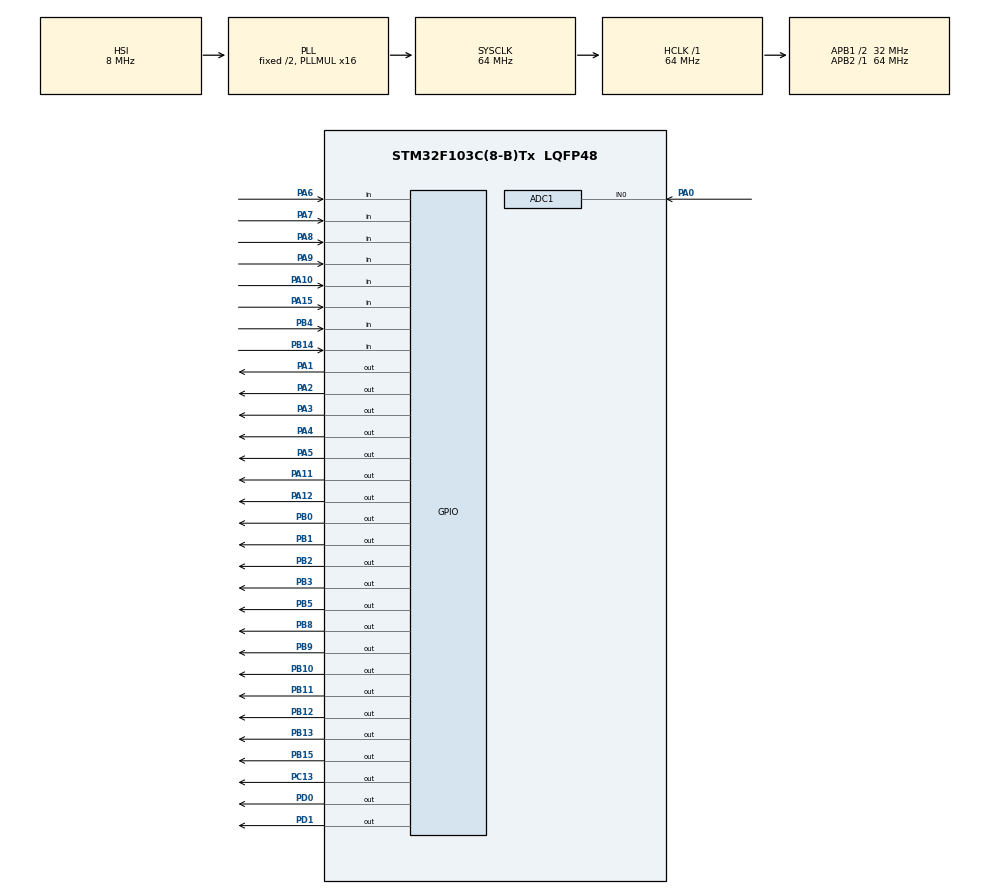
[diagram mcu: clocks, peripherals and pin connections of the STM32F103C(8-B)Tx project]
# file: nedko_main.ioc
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ADC1.Channel-0\#ChannelRegularConversion=ADC_CHANNEL_0
ADC1.ContinuousConvMode=ENABLE
ADC1.NbrOfConversionFlag=1
ADC1.Rank-0\#ChannelRegularConversion=1
ADC1.SamplingTime-0\#ChannelRegularConversion=ADC_SAMPLETIME_1CYCLE_5
ADC1.master=1
Mcu.Family=STM32F1
Mcu.Name=STM32F103C(8-B)Tx
Mcu.Package=LQFP48
NVIC.PriorityGroup=NVIC_PRIORITYGROUP_4
PA0-WKUP.Signal=ADCx_IN0
PA1.Signal=GPIO_Output
PA10.Signal=GPIO_Input
PA11.Signal=GPIO_Output
PA12.Signal=GPIO_Output
PA13.Mode=Serial_Wire
PA13.Signal=SYS_JTMS-SWDIO
PA14.Mode=Serial_Wire
PA14.Signal=SYS_JTCK-SWCLK
PA15.Signal=GPIO_Input
PA2.Signal=GPIO_Output
PA3.Signal=GPIO_Output
PA4.Signal=GPIO_Output
PA5.Signal=GPIO_Output
PA6.Signal=GPIO_Input
PA7.Signal=GPIO_Input
PA8.Signal=GPIO_Input
PA9.Signal=GPIO_Input
PB0.Signal=GPIO_Output
PB1.Signal=GPIO_Output
PB10.Signal=GPIO_Output
PB11.Signal=GPIO_Output
PB12.Signal=GPIO_Output
PB13.Signal=GPIO_Output
PB14.Signal=GPIO_Input
PB15.Signal=GPIO_Output
PB2.Signal=GPIO_Output
PB3.Signal=GPIO_Output
PB4.Signal=GPIO_Input
PB5.Signal=GPIO_Output
PB6.Signal=USART1_TX
PB7.Signal=USART1_RX
PB8.Signal=GPIO_Output
PB9.Signal=GPIO_Output
PC13-TAMPER-RTC.Signal=GPIO_Output
PC14-OSC32_IN.Mode=LSE-External-Oscillator
PC14-OSC32_IN.Signal=RCC_OSC32_IN
PC15-OSC32_OUT.Mode=LSE-External-Oscillator
PC15-OSC32_OUT.Signal=RCC_OSC32_OUT
PD0-OSC_IN.Signal=GPIO_Output
PD1-OSC_OUT.Signal=GPIO_Output
ProjectManager.HeapSize=0x200
ProjectManager.StackSize=0x400
ProjectManager.TargetToolchain=SW4STM32
RCC.ADCPresc=RCC_ADCPCLK2_DIV8
RCC.AHBFreq_Value=64000000
RCC.APB1CLKDivider=RCC_HCLK_DIV2
RCC.APB1Freq_Value=32000000
RCC.APB1TimFreq_Value=64000000
RCC.APB2Freq_Value=64000000
RCC.APB2TimFreq_Value=64000000
RCC.HCLKFreq_Value=64000000
RCC.PLLMUL=RCC_PLL_MUL16
RCC.RTCClockSelection=RCC_RTCCLKSOURCE_LSE
RCC.SYSCLKFreq_VALUE=64000000
RCC.SYSCLKSource=RCC_SYSCLKSOURCE_PLLCLK
RCC.USBFreq_Value=64000000
SH.ADCx_IN0.0=ADC1_IN0,IN0
VP_RTC_No_RTC_Output.Mode=RTC_OUT_NO
VP_RTC_VS_RTC_Activate.Mode=RTC_Enabled
VP_RTC_VS_RTC_Calendar.Mode=RTC_Calendar
board=nedko_main

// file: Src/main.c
/**
  ******************************************************************************
  * File Name          : main.c
  * Description        : Main program body
  ******************************************************************************
  ** This notice applies to any and all portions of this file
  * that are not between comment pairs USER CODE BEGIN and
  * USER CODE END. Other portions of this file, whether
  * inserted by the user or by software development tools
  * are owned by their respective copyright owners.
  *
  * COPYRIGHT(c) 2018 STMicroelectronics
  *
  * Redistribution and use in source and binary forms, with or without modification,
  * are permitted provided that the following conditions are met:
  *   1. Redistributions of source code must retain the above copyright notice,
  *      this list of conditions and the following disclaimer.
  *   2. Redistributions in binary form must reproduce the above copyright notice,
  *      this list of conditions and the following disclaimer in the documentation
  *      and/or other materials provided with the distribution.
  *   3. Neither the name of STMicroelectronics nor the names of its contributors
  *      may be used to endorse or promote products derived from this software
  *      without specific prior written permission.
  *
  * THIS SOFTWARE IS PROVIDED BY THE COPYRIGHT HOLDERS AND CONTRIBUTORS "AS IS"
  * AND ANY EXPRESS OR IMPLIED WARRANTIES, INCLUDING, BUT NOT LIMITED TO, THE
  * IMPLIED WARRANTIES OF MERCHANTABILITY AND FITNESS FOR A PARTICULAR PURPOSE ARE
  * DISCLAIMED. IN NO EVENT SHALL THE COPYRIGHT HOLDER OR CONTRIBUTORS BE LIABLE
  * FOR ANY DIRECT, INDIRECT, INCIDENTAL, SPECIAL, EXEMPLARY, OR CONSEQUENTIAL
  * DAMAGES (INCLUDING, BUT NOT LIMITED TO, PROCUREMENT OF SUBSTITUTE GOODS OR
  * SERVICES; LOSS OF USE, DATA, OR PROFITS; OR BUSINESS INTERRUPTION) HOWEVER
  * CAUSED AND ON ANY THEORY OF LIABILITY, WHETHER IN CONTRACT, STRICT LIABILITY,
  * OR TORT (INCLUDING NEGLIGENCE OR OTHERWISE) ARISING IN ANY WAY OUT OF THE USE
  * OF THIS SOFTWARE, EVEN IF ADVISED OF THE POSSIBILITY OF SUCH DAMAGE.
  *
  ******************************************************************************
  */

#include "main.h"
#include "stm32f1xx_hal.h"

/* USER CODE BEGIN Includes */
#include "string.h"
#include "LedControl.h"
#include "math.h"
#include "eeprom.h"
#include "MFRC522.h"
/* USER CODE END Includes */

ADC_HandleTypeDef hadc1;

RTC_HandleTypeDef hrtc;

/* USER CODE BEGIN PV */
/* Private variables ---------------------------------------------------------*/
extern LedControl led_control;
extern MFRC522_t mfrc522;
/* USER CODE END PV */

void SystemClock_Config(void);
static void MX_GPIO_Init(void);
static void MX_ADC1_Init(void);
static void MX_RTC_Init(void);

/* USER CODE BEGIN PFP */
/* Private function prototypes -----------------------------------------------*/

/* USER CODE END PFP */

int main(void)
{

  /* USER CODE BEGIN 1 */
	  signed char counter = 0;
  /* USER CODE END 1 */

  /* MCU Configuration----------------------------------------------------------*/

  /* Reset of all peripherals, Initializes the Flash interface and the Systick. */
  HAL_Init();

  /* Configure the system clock */
  SystemClock_Config();

  /* Initialize all configured peripherals */
  MX_GPIO_Init();
  MX_ADC1_Init();
  MX_RTC_Init();

  /* USER CODE BEGIN 2 */
  MFRC522_PCD_Init(11,  GPIOA, 2, GPIOB, 13, GPIOC, 15, GPIOA, 12,  GPIOA);
  LedControl_init(9, GPIOB, 11, GPIOB, 10, GPIOB, 11);
  for(int i = 0; i < led_control.maxDevices; i++)
  {
	  LedControl_shutdown(i, 0); //Turn ON
	  LedControl_setIntensity(i, 8);
	  LedControl_clearDisplay(i);
  }
  LedControl_setRow(2, 3, 0x0F);
  /* USER CODE END 2 */

  /* Infinite loop */
  while (1)
  {

  /* USER CODE BEGIN 3 */
//	  if(counter < sizeof(led_control.buffer))
//		  led_control.buffer[0] = 0xFF;
//		  led_control.buffer[8] = 0xFF;
//		  led_control.buffer[16] = 0x0F;

	  memset(led_control.buffer, 0, sizeof(led_control.buffer));
//	  LedControl_printCharWithShift(counter + 32,0);
	  if(MFRC522_PICC_IsNewCardPresent())
	  {
		  uint8_t val;
//		  uint8_t buffer[5];
//		  uint8_t buffer_size;
//		  buffer_size = sizeof(buffer);
//		  MFRC522_PICC_WakeupA(buffer, &buffer_size);
		  if(MFRC522_PICC_ReadCardSerial ())
		  {
			  LedControl_SetCursor(0, 0);
			  for(int i = 0; i < 8; i++)
			  {
				  val =  ((mfrc522.uid.uidByte[i/2]>>(4*(i&1))) & 0x0F);
				  if (val < 10)
				  {
					  LedControl_printChar('0' + val);
				  }
				  else
				  {
					  LedControl_printChar('A' + val - 10);
				  }
			  }
			  LedControl_reload();
		  }
	  }
	  else
	  {

	//	  LedControl_shiftLeft(0, 1);
		  LedControl_SetCursor(counter/8, (counter/2)%2);
		  LedControl_printBigString("K"); //ALOJAN E DOBAR");
	//	  LedControl_printBigChar('#');
	//	  LedControl_printBigChar(counter + 32);
	  }
//	  LedControl_reload();
	  HAL_Delay(100);
//		HAL_Delay(100);
//		LedControl_setRow((counter/8 ) % 8, counter % 8, 0x55);
		counter-=2;
//		counter %= 94;
  }
  /* USER CODE END 3 */

}

/** System Clock Configuration
*/
void SystemClock_Config(void)
{

  RCC_OscInitTypeDef RCC_OscInitStruct;
  RCC_ClkInitTypeDef RCC_ClkInitStruct;
  RCC_PeriphCLKInitTypeDef PeriphClkInit;

    /**Initializes the CPU, AHB and APB busses clocks
    */
  RCC_OscInitStruct.OscillatorType = RCC_OSCILLATORTYPE_HSI|RCC_OSCILLATORTYPE_LSE;
  RCC_OscInitStruct.LSEState = RCC_LSE_ON;
  RCC_OscInitStruct.HSIState = RCC_HSI_ON;
  RCC_OscInitStruct.HSICalibrationValue = 16;
  RCC_OscInitStruct.PLL.PLLState = RCC_PLL_ON;
  RCC_OscInitStruct.PLL.PLLSource = RCC_PLLSOURCE_HSI_DIV2;
  RCC_OscInitStruct.PLL.PLLMUL = RCC_PLL_MUL16;
  if (HAL_RCC_OscConfig(&RCC_OscInitStruct) != HAL_OK)
  {
    _Error_Handler(__FILE__, __LINE__);
  }

    /**Initializes the CPU, AHB and APB busses clocks
    */
  RCC_ClkInitStruct.ClockType = RCC_CLOCKTYPE_HCLK|RCC_CLOCKTYPE_SYSCLK
                              |RCC_CLOCKTYPE_PCLK1|RCC_CLOCKTYPE_PCLK2;
  RCC_ClkInitStruct.SYSCLKSource = RCC_SYSCLKSOURCE_PLLCLK;
  RCC_ClkInitStruct.AHBCLKDivider = RCC_SYSCLK_DIV1;
  RCC_ClkInitStruct.APB1CLKDivider = RCC_HCLK_DIV2;
  RCC_ClkInitStruct.APB2CLKDivider = RCC_HCLK_DIV1;

  if (HAL_RCC_ClockConfig(&RCC_ClkInitStruct, FLASH_LATENCY_2) != HAL_OK)
  {
    _Error_Handler(__FILE__, __LINE__);
  }

  PeriphClkInit.PeriphClockSelection = RCC_PERIPHCLK_RTC|RCC_PERIPHCLK_ADC;
  PeriphClkInit.RTCClockSelection = RCC_RTCCLKSOURCE_LSE;
  PeriphClkInit.AdcClockSelection = RCC_ADCPCLK2_DIV8;
  if (HAL_RCCEx_PeriphCLKConfig(&PeriphClkInit) != HAL_OK)
  {
    _Error_Handler(__FILE__, __LINE__);
  }

    /**Configure the Systick interrupt time
    */
  HAL_SYSTICK_Config(HAL_RCC_GetHCLKFreq()/1000);

    /**Configure the Systick
    */
  HAL_SYSTICK_CLKSourceConfig(SYSTICK_CLKSOURCE_HCLK);

  /* SysTick_IRQn interrupt configuration */
  HAL_NVIC_SetPriority(SysTick_IRQn, 0, 0);
}

/* ADC1 init function */
static void MX_ADC1_Init(void)
{

  ADC_ChannelConfTypeDef sConfig;

    /**Common config
    */
  hadc1.Instance = ADC1;
  hadc1.Init.ScanConvMode = ADC_SCAN_DISABLE;
  hadc1.Init.ContinuousConvMode = ENABLE;
  hadc1.Init.DiscontinuousConvMode = DISABLE;
  hadc1.Init.ExternalTrigConv = ADC_SOFTWARE_START;
  hadc1.Init.DataAlign = ADC_DATAALIGN_RIGHT;
  hadc1.Init.NbrOfConversion = 1;
  if (HAL_ADC_Init(&hadc1) != HAL_OK)
  {
    _Error_Handler(__FILE__, __LINE__);
  }

    /**Configure Regular Channel
    */
  sConfig.Channel = ADC_CHANNEL_0;
  sConfig.Rank = 1;
  sConfig.SamplingTime = ADC_SAMPLETIME_1CYCLE_5;
  if (HAL_ADC_ConfigChannel(&hadc1, &sConfig) != HAL_OK)
  {
    _Error_Handler(__FILE__, __LINE__);
  }

}

/* RTC init function */
static void MX_RTC_Init(void)
{

  RTC_TimeTypeDef sTime;
  RTC_DateTypeDef DateToUpdate;

    /**Initialize RTC Only
    */
  hrtc.Instance = RTC;
  hrtc.Init.AsynchPrediv = RTC_AUTO_1_SECOND;
  hrtc.Init.OutPut = RTC_OUTPUTSOURCE_NONE;
  if (HAL_RTC_Init(&hrtc) != HAL_OK)
  {
    _Error_Handler(__FILE__, __LINE__);
  }

    /**Initialize RTC and set the Time and Date
    */
  if(HAL_RTCEx_BKUPRead(&hrtc, RTC_BKP_DR1) != 0x32F2){
  sTime.Hours = 0x1;
  sTime.Minutes = 0x0;
  sTime.Seconds = 0x0;

  if (HAL_RTC_SetTime(&hrtc, &sTime, RTC_FORMAT_BCD) != HAL_OK)
  {
    _Error_Handler(__FILE__, __LINE__);
  }

  DateToUpdate.WeekDay = RTC_WEEKDAY_MONDAY;
  DateToUpdate.Month = RTC_MONTH_JANUARY;
  DateToUpdate.Date = 0x1;
  DateToUpdate.Year = 0x0;

  if (HAL_RTC_SetDate(&hrtc, &DateToUpdate, RTC_FORMAT_BCD) != HAL_OK)
  {
    _Error_Handler(__FILE__, __LINE__);
  }

    HAL_RTCEx_BKUPWrite(&hrtc,RTC_BKP_DR1,0x32F2);
  }

}

/** Configure pins as
        * Analog
        * Input
        * Output
        * EVENT_OUT
        * EXTI
     PB6   ------> USART1_TX
     PB7   ------> USART1_RX
*/
static void MX_GPIO_Init(void)
{

  GPIO_InitTypeDef GPIO_InitStruct;

  /* GPIO Ports Clock Enable */
  __HAL_RCC_GPIOC_CLK_ENABLE();
  __HAL_RCC_GPIOD_CLK_ENABLE();
  __HAL_RCC_GPIOA_CLK_ENABLE();
  __HAL_RCC_GPIOB_CLK_ENABLE();

  /*Configure GPIO pin Output Level */
  HAL_GPIO_WritePin(GPIOC, GPIO_PIN_13, GPIO_PIN_RESET);

  /*Configure GPIO pin Output Level */
  HAL_GPIO_WritePin(GPIOD, GPIO_PIN_0|GPIO_PIN_1, GPIO_PIN_RESET);

  /*Configure GPIO pin Output Level */
  HAL_GPIO_WritePin(GPIOA, GPIO_PIN_1|GPIO_PIN_2|GPIO_PIN_3|GPIO_PIN_4
                          |GPIO_PIN_5|GPIO_PIN_11|GPIO_PIN_12, GPIO_PIN_RESET);

  /*Configure GPIO pin Output Level */
  HAL_GPIO_WritePin(GPIOB, GPIO_PIN_0|GPIO_PIN_1|GPIO_PIN_2|GPIO_PIN_10
                          |GPIO_PIN_11|GPIO_PIN_12|GPIO_PIN_13|GPIO_PIN_15
                          |GPIO_PIN_3|GPIO_PIN_5|GPIO_PIN_8|GPIO_PIN_9, GPIO_PIN_RESET);

  /*Configure GPIO pin : PC13 */
  GPIO_InitStruct.Pin = GPIO_PIN_13;
  GPIO_InitStruct.Mode = GPIO_MODE_OUTPUT_PP;
  GPIO_InitStruct.Speed = GPIO_SPEED_FREQ_LOW;
  HAL_GPIO_Init(GPIOC, &GPIO_InitStruct);

  /*Configure GPIO pins : PD0 PD1 */
  GPIO_InitStruct.Pin = GPIO_PIN_0|GPIO_PIN_1;
  GPIO_InitStruct.Mode = GPIO_MODE_OUTPUT_PP;
  GPIO_InitStruct.Speed = GPIO_SPEED_FREQ_LOW;
  HAL_GPIO_Init(GPIOD, &GPIO_InitStruct);

  /*Configure GPIO pins : PA1 PA2 PA3 PA4
                           PA5 PA11 PA12 */
  GPIO_InitStruct.Pin = GPIO_PIN_1|GPIO_PIN_2|GPIO_PIN_3|GPIO_PIN_4
                          |GPIO_PIN_5|GPIO_PIN_11|GPIO_PIN_12;
  GPIO_InitStruct.Mode = GPIO_MODE_OUTPUT_PP;
  GPIO_InitStruct.Speed = GPIO_SPEED_FREQ_LOW;
  HAL_GPIO_Init(GPIOA, &GPIO_InitStruct);

  /*Configure GPIO pins : PA6 PA7 PA8 PA9
                           PA10 PA15 */
  GPIO_InitStruct.Pin = GPIO_PIN_6|GPIO_PIN_7|GPIO_PIN_8|GPIO_PIN_9
                          |GPIO_PIN_10|GPIO_PIN_15;
  GPIO_InitStruct.Mode = GPIO_MODE_INPUT;
  GPIO_InitStruct.Pull = GPIO_NOPULL;
  HAL_GPIO_Init(GPIOA, &GPIO_InitStruct);

  /*Configure GPIO pins : PB0 PB1 PB2 PB10
                           PB11 PB12 PB13 PB15
                           PB3 PB5 PB8 PB9 */
  GPIO_InitStruct.Pin = GPIO_PIN_0|GPIO_PIN_1|GPIO_PIN_2|GPIO_PIN_10
                          |GPIO_PIN_11|GPIO_PIN_12|GPIO_PIN_13|GPIO_PIN_15
                          |GPIO_PIN_3|GPIO_PIN_5|GPIO_PIN_8|GPIO_PIN_9;
  GPIO_InitStruct.Mode = GPIO_MODE_OUTPUT_PP;
  GPIO_InitStruct.Speed = GPIO_SPEED_FREQ_LOW;
  HAL_GPIO_Init(GPIOB, &GPIO_InitStruct);

  /*Configure GPIO pins : PB14 PB4 */
  GPIO_InitStruct.Pin = GPIO_PIN_14|GPIO_PIN_4;
  GPIO_InitStruct.Mode = GPIO_MODE_INPUT;
  GPIO_InitStruct.Pull = GPIO_NOPULL;
  HAL_GPIO_Init(GPIOB, &GPIO_InitStruct);

  /*Configure GPIO pin : PB6 */
  GPIO_InitStruct.Pin = GPIO_PIN_6;
  GPIO_InitStruct.Mode = GPIO_MODE_AF_PP;
  GPIO_InitStruct.Speed = GPIO_SPEED_FREQ_HIGH;
  HAL_GPIO_Init(GPIOB, &GPIO_InitStruct);

  /*Configure GPIO pin : PB7 */
  GPIO_InitStruct.Pin = GPIO_PIN_7;
  GPIO_InitStruct.Mode = GPIO_MODE_INPUT;
  GPIO_InitStruct.Pull = GPIO_NOPULL;
  HAL_GPIO_Init(GPIOB, &GPIO_InitStruct);

  /*Configure peripheral I/O remapping */
  __HAL_AFIO_REMAP_PD01_ENABLE();

  /*Configure peripheral I/O remapping */
  __HAL_AFIO_REMAP_USART1_ENABLE();

}

void _Error_Handler(char * file, int line)
{
  while(1)
  {
  }
}

/************************ (C) COPYRIGHT STMicroelectronics *****END OF FILE****/
